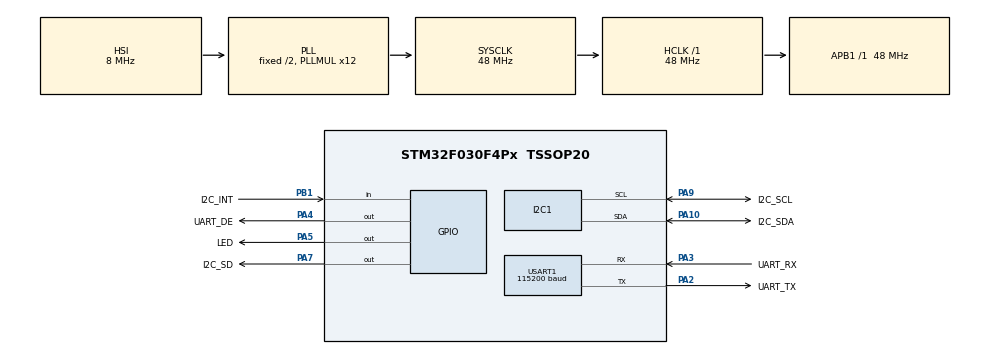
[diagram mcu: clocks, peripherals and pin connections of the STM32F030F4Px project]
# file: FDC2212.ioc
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I2C1.Timing=0x2000090E
Mcu.Family=STM32F0
Mcu.Name=STM32F030F4Px
Mcu.Package=TSSOP20
NVIC.USART1_IRQn=true\:0\:0\:false\:false\:true
PA10.GPIO_Label=I2C_SDA
PA10.Mode=I2C
PA10.Signal=I2C1_SDA
PA13.GPIO_Label=SWD_IO
PA13.Mode=Serial-WireDebug
PA13.Signal=SYS_SWDIO
PA14.GPIO_Label=SWT_CL
PA14.Mode=Serial-WireDebug
PA14.Signal=SYS_SWCLK
PA2.GPIO_Label=UART_TX
PA2.Mode=Asynchronous
PA2.Signal=USART1_TX
PA3.GPIO_Label=UART_RX
PA3.Mode=Asynchronous
PA3.Signal=USART1_RX
PA4.GPIO_Label=UART_DE
PA4.GPIO_Speed=GPIO_SPEED_HIGH
PA4.Signal=GPIO_Output
PA5.GPIO_Label=LED
PA5.Signal=GPIO_Output
PA7.GPIO_Label=I2C_SD
PA7.Signal=GPIO_Output
PA9.GPIO_Label=I2C_SCL
PA9.Mode=I2C
PA9.Signal=I2C1_SCL
PB1.GPIO_Label=I2C_INT
PB1.Signal=GPIO_Input
ProjectManager.TargetToolchain=SW4STM32
RCC.AHBFreq_Value=48000000
RCC.APB1Freq_Value=48000000
RCC.APB1TimFreq_Value=48000000
RCC.HCLKFreq_Value=48000000
RCC.PLLMUL=RCC_PLL_MUL12
RCC.SYSCLKFreq_VALUE=48000000
RCC.SYSCLKSource=RCC_SYSCLKSOURCE_PLLCLK
USART1.BaudRate=115200
USART1.RxPinLevelInvertParam=UART_ADVFEATURE_RXINV_ENABLE
USART1.TxPinLevelInvertParam=UART_ADVFEATURE_TXINV_ENABLE
board=FDC2212

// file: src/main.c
/**
  ******************************************************************************
  * File Name          : main.c
  * Description        : Main program body
  ******************************************************************************
  *
  * COPYRIGHT(c) 2016 STMicroelectronics
  *
  * Redistribution and use in source and binary forms, with or without modification,
  * are permitted provided that the following conditions are met:
  *   1. Redistributions of source code must retain the above copyright notice,
  *      this list of conditions and the following disclaimer.
  *   2. Redistributions in binary form must reproduce the above copyright notice,
  *      this list of conditions and the following disclaimer in the documentation
  *      and/or other materials provided with the distribution.
  *   3. Neither the name of STMicroelectronics nor the names of its contributors
  *      may be used to endorse or promote products derived from this software
  *      without specific prior written permission.
  *
  * THIS SOFTWARE IS PROVIDED BY THE COPYRIGHT HOLDERS AND CONTRIBUTORS "AS IS"
  * AND ANY EXPRESS OR IMPLIED WARRANTIES, INCLUDING, BUT NOT LIMITED TO, THE
  * IMPLIED WARRANTIES OF MERCHANTABILITY AND FITNESS FOR A PARTICULAR PURPOSE ARE
  * DISCLAIMED. IN NO EVENT SHALL THE COPYRIGHT HOLDER OR CONTRIBUTORS BE LIABLE
  * FOR ANY DIRECT, INDIRECT, INCIDENTAL, SPECIAL, EXEMPLARY, OR CONSEQUENTIAL
  * DAMAGES (INCLUDING, BUT NOT LIMITED TO, PROCUREMENT OF SUBSTITUTE GOODS OR
  * SERVICES; LOSS OF USE, DATA, OR PROFITS; OR BUSINESS INTERRUPTION) HOWEVER
  * CAUSED AND ON ANY THEORY OF LIABILITY, WHETHER IN CONTRACT, STRICT LIABILITY,
  * OR TORT (INCLUDING NEGLIGENCE OR OTHERWISE) ARISING IN ANY WAY OUT OF THE USE
  * OF THIS SOFTWARE, EVEN IF ADVISED OF THE POSSIBILITY OF SUCH DAMAGE.
  *
  ******************************************************************************
  */
#include "stm32f0xx_hal.h"

/* USER CODE BEGIN Includes */
#include "stdio.h"
#include "string.h"

#define SLAVE_ID          0x02

#define MEASURE_CURRENT   0x1E
#define MEASURE_DURATION  0x8329

/* USER CODE END Includes */

I2C_HandleTypeDef hi2c1;

UART_HandleTypeDef huart1;

/* USER CODE BEGIN PV */
/* Private variables ---------------------------------------------------------*/
#define FDC_ADDR                0x2a

#define FDC_DATA_CH0            0x00
#define FDC_DATA_LSB_CH0        0x01
#define FDC_DATA_CH1            0x02
#define FDC_DATA_LSB_CH1        0x03

#define FDC_RCOUNT_CH0          0x08
#define FDC_RCOUNT_CH1          0x09
#define FDC_SETTLECOUNT_CH0     0x10
#define FDC_SETTLECOUNT_CH1     0x11
#define FDC_CLOCK_DIVIDER_CH0   0x14
#define FDC_CLOCK_DIVIDER_CH1   0x15
#define FDC_STATUS              0x18
#define FDC_STATUS_CONFIG       0x19
#define FDC_MUX_CONFIG          0x1B
#define FDC_DRIVE_CURRENT_CH0   0x1E
#define FDC_DRIVE_CURRENT_CH1   0x1F
#define FDC_CONFIG              0x1A

#define ACTION_NONE        0
#define ACTION_MEASURE1    1
#define ACTION_MEASURE2    2
#define ACTION_CONFIGURE1  3
#define ACTION_CONFIGURE2  4
#define ACTION_MEASURECONT 5
#define ACTION_STOP        6

#define STATUS_IDLE        0
#define STATUS_MEASURE1    1
#define STATUS_MEASURE2    2
#define STATUS_MEASURECONT 3

volatile int status = STATUS_IDLE, action = ACTION_NONE;
volatile uint32_t cap1 = 0, cap2 = 0, cap = 42;
volatile uint16_t status1 = 0, status2 = 0;

/* USER CODE END PV */

void SystemClock_Config(void);
static void MX_GPIO_Init(void);
static void MX_I2C1_Init(void);
static void MX_USART1_UART_Init(void);

/* USER CODE BEGIN PFP */
/* Private function prototypes -----------------------------------------------*/

/* USER CODE END PFP */

/* USER CODE BEGIN 0 */

// 00 xx       broadcast key xx
// ss            address slave ss
// ss 01 xx pp     stop measuring on broadcast xx byte pp
// ss 02           start continuous measurement (on channel 1)
// ss c0           request channel c status
// ss c1 xx pp     measure channel c on broadcast xx byte pp
// ss c2 xx pp     provide channel c result on broadcast xx byte pp
// ss c3 ii dd dd  for channel c use current ii and duration dd dd
#define UART_CH1_MASK        0x10
#define UART_CH2_MASK        0x20
#define UART_MEASURE_MASK    0x01
#define UART_REPORT_MASK     0x02
#define UART_CONFIG_MASK     0x03
#define UART_STATUS_MASK     0x00

#define UART_CONTINUOUS_MASK 0x02
#define UART_STOP_MASK       0x01

void write(uint16_t reg, uint16_t data) {
  uint8_t pdata[2] = {(data >> 8) & 0xFF, data & 0xFF};
  HAL_StatusTypeDef ret = HAL_I2C_Mem_Write(&hi2c1, FDC_ADDR * 2, reg, 1, pdata, 2, 2000);
  if(ret != HAL_OK) {
    int i = ret;
    i++;
  }
}

uint16_t read(uint16_t reg) {
  uint8_t pdata[2];
  HAL_StatusTypeDef ret = HAL_I2C_Mem_Read(&hi2c1, FDC_ADDR * 2, reg, 1, pdata, 2, 2000);
  if(ret != HAL_OK) {
    int i = ret;
    i++;
  }
  return (pdata[0] << 8) | pdata[1];
}

#define UNCONFIGURED         255

volatile int measure_ch1_pos = UNCONFIGURED;
volatile int measure_ch1_key = UNCONFIGURED;

volatile int report_ch1_pos = UNCONFIGURED;
volatile int report_ch1_key = UNCONFIGURED;

volatile int current_ch1 = MEASURE_CURRENT;
volatile int duration_ch1 = MEASURE_DURATION;

volatile int measure_ch2_pos = UNCONFIGURED;
volatile int measure_ch2_key = UNCONFIGURED;

volatile int report_ch2_pos = UNCONFIGURED;
volatile int report_ch2_key = UNCONFIGURED;

volatile int current_ch2 = MEASURE_CURRENT;
volatile int duration_ch2 = MEASURE_DURATION;

volatile int stop_pos = UNCONFIGURED;
volatile int stop_key = UNCONFIGURED;

#define UART_EXPECT_ADDR 0
#define UART_EXPECT_KEY 1
#define UART_EXPECT_DATA 2
int uart_state = UART_EXPECT_ADDR;
uint8_t uart_addr = 0, uart_key = 0, uart_pos = 0;
uint8_t tx_buf[8];
uint8_t tx_pos = 0, tx_len = 0;
volatile int transmitting = 0;

void report(UART_HandleTypeDef* uart, void* data, uint8_t len) {
  HAL_GPIO_WritePin(UART_DE_GPIO_Port, UART_DE_Pin, GPIO_PIN_SET);
  transmitting = 1;
  memcpy(tx_buf, data, len);
  tx_len = len;
  tx_pos = 0;
  __HAL_UART_ENABLE_IT(uart, UART_IT_TXE);
}

void handle(UART_HandleTypeDef* uart) {
  int error = 0;
  if(__HAL_UART_GET_IT(uart, UART_IT_FE) != RESET) {
    // Frame Error
    if(transmitting == 0) uart_state = UART_EXPECT_ADDR;
    __HAL_UART_CLEAR_IT(uart, UART_CLEAR_FEF);
    error = 2;
  }

  if(__HAL_UART_GET_IT(uart, UART_IT_PE) != RESET) {
    // Parity Error
    __HAL_UART_CLEAR_IT(uart, UART_CLEAR_PEF);
    error = 1;
  }

  if(__HAL_UART_GET_IT(uart, UART_IT_NE) != RESET) {
    // Noise Error
    __HAL_UART_CLEAR_IT(uart, UART_CLEAR_NEF);
    error = 1;
  }

  if(__HAL_UART_GET_IT(uart, UART_IT_ORE) != RESET) {
    // Overrun Error
    __HAL_UART_CLEAR_IT(uart, UART_CLEAR_OREF);
    error = 1;
  }

  if(__HAL_UART_GET_IT(uart, UART_IT_TXE) != RESET) {
    // Transmit buffer empty
    if(tx_pos < tx_len) {
      uart->Instance->TDR = tx_buf[tx_pos];
      tx_pos++;
    }
    if(tx_pos == tx_len) {
      __HAL_UART_ENABLE_IT(uart, UART_IT_TC);
      __HAL_UART_DISABLE_IT(uart, UART_IT_TXE);
    }
  }

  if(__HAL_UART_GET_IT(uart, UART_IT_TC) != RESET) {
    // Transfer complete
    if(tx_pos == tx_len) {
      HAL_GPIO_WritePin(UART_DE_GPIO_Port, UART_DE_Pin, GPIO_PIN_RESET);
      __HAL_UART_DISABLE_IT(uart, UART_IT_TC);
      __HAL_UART_CLEAR_IT(uart, UART_CLEAR_TCF);
      transmitting = 0;
    }
  }

  if(error == 2) {
    __HAL_UART_SEND_REQ(uart, UART_RXDATA_FLUSH_REQUEST);
    return;
  }

  if(__HAL_UART_GET_IT(uart, UART_IT_RXNE) != RESET) {
    // data available
    if(uart_state == UART_EXPECT_ADDR) {
      uart_addr = uart->Instance->RDR;
      uart_state = UART_EXPECT_KEY;
    } else if(uart_state == UART_EXPECT_KEY) {
      uart_key = uart->Instance->RDR;
      uart_pos = 0;
      uart_state = UART_EXPECT_DATA;
    } else if(uart_state == UART_EXPECT_DATA) {
      uart_pos++;
    }

    if(uart_state == UART_EXPECT_DATA) {
      if(uart_addr == 0) {
        if(uart_key == stop_key && uart_pos == stop_pos) {
          action = ACTION_STOP;
        }
        if(uart_key == measure_ch1_key && uart_pos == measure_ch1_pos) {
          cap1 = 0;
          action = ACTION_MEASURE1;
        }
        if(uart_key == measure_ch2_key && uart_pos == measure_ch2_pos) {
          cap2 = 0;
          action = ACTION_MEASURE2;
        }
        if(uart_key == report_ch1_key && uart_pos == report_ch1_pos) {
          uint32_t value = (status == STATUS_MEASURECONT) ? cap : cap1;
          int i; for(i=0; i<20; i++);
          report(uart, &value, sizeof(value));
        }
        if(uart_key == report_ch2_key && uart_pos == report_ch2_pos) {
          uint32_t value = (status == STATUS_MEASURECONT) ? cap : cap2;
          int i; for(i=0; i<20; i++);
          report(uart, &value, sizeof(value));
        }
      } else if(uart_addr == SLAVE_ID) {
        if(status==STATUS_MEASURECONT) status = STATUS_IDLE;
        if(uart_key == (UART_CH1_MASK + UART_MEASURE_MASK)) {
          if(uart_pos == 0) {measure_ch1_key = UNCONFIGURED; measure_ch1_pos = UNCONFIGURED; }
          if(uart_pos == 1) measure_ch1_key = uart->Instance->RDR;
          if(uart_pos == 2) measure_ch1_pos = uart->Instance->RDR;
        }
        if(uart_key == (UART_CH2_MASK + UART_MEASURE_MASK)) {
          if(uart_pos == 0) {measure_ch2_key = UNCONFIGURED; measure_ch2_pos = UNCONFIGURED; }
          if(uart_pos == 1) measure_ch2_key = uart->Instance->RDR;
          if(uart_pos == 2) measure_ch2_pos = uart->Instance->RDR;
        }
        if(uart_key == (UART_CH1_MASK + UART_REPORT_MASK)) {
          if(uart_pos == 0) {report_ch1_key = UNCONFIGURED; report_ch1_pos = UNCONFIGURED; }
          if(uart_pos == 1) report_ch1_key = uart->Instance->RDR;
          if(uart_pos == 2) report_ch1_pos = uart->Instance->RDR;
        }
        if(uart_key == (UART_CH2_MASK + UART_REPORT_MASK)) {
          if(uart_pos == 0) {report_ch2_key = UNCONFIGURED; report_ch2_pos = UNCONFIGURED; }
          if(uart_pos == 1) report_ch2_key = uart->Instance->RDR;
          if(uart_pos == 2) report_ch2_pos = uart->Instance->RDR;
        }
        if(uart_key == (UART_CH1_MASK + UART_CONFIG_MASK)) {
          if(uart_pos == 1) current_ch1 = uart->Instance->RDR;
          if(uart_pos == 2) duration_ch1 = uart->Instance->RDR;
          if(uart_pos == 3) {
            duration_ch1 = (duration_ch1 << 8) | uart->Instance->RDR;
            action = ACTION_CONFIGURE1;
          }
        }
        if(uart_key == (UART_CH2_MASK + UART_CONFIG_MASK)) {
          if(uart_pos == 1) current_ch2 = uart->Instance->RDR;
          if(uart_pos == 2) duration_ch2 = uart->Instance->RDR;
          if(uart_pos == 3) {
            duration_ch2 = (duration_ch2 << 8) | uart->Instance->RDR;
            action = ACTION_CONFIGURE2;
          }
        }
        if(uart_key == (UART_CH1_MASK + UART_STATUS_MASK)) {
          uint16_t value = status1;
          int i; for(i=0; i<20; i++);
          report(uart, &value, 2);
        }
        if(uart_key == (UART_CH2_MASK + UART_STATUS_MASK)) {
          uint16_t value = status2;
          int i; for(i=0; i<20; i++);
          report(uart, &value, 2);
        }
        if(uart_key == (UART_CONTINUOUS_MASK)) {
          action = ACTION_MEASURECONT;
        }
        if(uart_key == (UART_STOP_MASK)) {
          if(uart_pos == 0) {stop_key = UNCONFIGURED; stop_pos = UNCONFIGURED; }
          if(uart_pos == 1) stop_key = uart->Instance->RDR;
          if(uart_pos == 2) stop_pos = uart->Instance->RDR;
        }
      }
    }
    __HAL_UART_SEND_REQ(uart, UART_RXDATA_FLUSH_REQUEST);
  }
}

/* USER CODE END 0 */

int main(void)
{

  /* MCU Configuration----------------------------------------------------------*/

  /* Reset of all peripherals, Initializes the Flash interface and the Systick. */
  HAL_Init();

  /* Configure the system clock */
  SystemClock_Config();

  /* Initialize all configured peripherals */
  MX_GPIO_Init();
  MX_I2C1_Init();
  MX_USART1_UART_Init();

  /* USER CODE BEGIN 2 */

  // enable FDC2212
  HAL_GPIO_WritePin(I2C_SD_GPIO_Port, I2C_SD_Pin, GPIO_PIN_RESET);
  int i; for(i=0; i<10000; i++);
  // turn on LED
  HAL_GPIO_WritePin(LED_GPIO_Port, LED_Pin, GPIO_PIN_SET);

  // configure FDC2212
  write(FDC_RCOUNT_CH0,         MEASURE_DURATION);
  write(FDC_RCOUNT_CH1,         MEASURE_DURATION);
  write(FDC_SETTLECOUNT_CH0,    0x000A);
  write(FDC_SETTLECOUNT_CH1,    0x000A);
  write(FDC_CLOCK_DIVIDER_CH0,  0x2001);
  write(FDC_CLOCK_DIVIDER_CH1,  0x2001);
  write(FDC_DRIVE_CURRENT_CH0,  MEASURE_CURRENT << 11);
  write(FDC_DRIVE_CURRENT_CH1,  MEASURE_CURRENT << 11);
  write(FDC_STATUS_CONFIG,      0x0001);
  write(FDC_MUX_CONFIG,         0x020D);

  if(read(FDC_RCOUNT_CH0) != MEASURE_DURATION) while(1);

  int config_sleep = 0x3401;
  int config_ch1 =   0x1401;
  int config_ch2 =   0x5401;
  write(FDC_CONFIG,             config_sleep);
  action = ACTION_NONE;
  status = STATUS_IDLE;

  cap1 = cap2 = 0;
  status1 = status2 = 0;

  __HAL_UART_ENABLE_IT(&huart1, UART_IT_RXNE);
  __HAL_UART_ENABLE_IT(&huart1, UART_IT_ERR);

  HAL_GPIO_WritePin(LED_GPIO_Port, LED_Pin, GPIO_PIN_RESET);

  /* USER CODE END 2 */

  /* Infinite loop */
  while (1)
  {

  /* USER CODE BEGIN 3 */
    if(HAL_GPIO_ReadPin(I2C_INT_GPIO_Port, I2C_INT_Pin) == GPIO_PIN_RESET) {
      if(status == STATUS_MEASURE1) {
        status1 = read(FDC_STATUS);
        cap1 = read(FDC_DATA_CH0) << 16 | read(FDC_DATA_LSB_CH0);
        status = STATUS_IDLE;
        HAL_GPIO_WritePin(LED_GPIO_Port, LED_Pin, GPIO_PIN_RESET);
        if(stop_pos == UNCONFIGURED) write(FDC_CONFIG, config_sleep);
      } else if(status == STATUS_MEASURE2) {
        status2 = read(FDC_STATUS);
        cap2 = read(FDC_DATA_CH1) << 16 | read(FDC_DATA_LSB_CH1);
        status = STATUS_IDLE;
        HAL_GPIO_WritePin(LED_GPIO_Port, LED_Pin, GPIO_PIN_RESET);
        if(stop_pos == UNCONFIGURED) write(FDC_CONFIG, config_sleep);
      } else if(status == STATUS_MEASURECONT) {
        HAL_GPIO_WritePin(LED_GPIO_Port, LED_Pin, GPIO_PIN_SET);
        status1 = read(FDC_STATUS);
        cap = read(FDC_DATA_CH0) << 16 | read(FDC_DATA_LSB_CH0);
        HAL_GPIO_WritePin(LED_GPIO_Port, LED_Pin, GPIO_PIN_RESET);
      }
    }

    if(status == STATUS_IDLE && action == ACTION_CONFIGURE1) {
      write(FDC_RCOUNT_CH0, duration_ch1);
      write(FDC_DRIVE_CURRENT_CH0, current_ch1 << 11);
      action = ACTION_NONE;
    } else if(status == STATUS_IDLE && action == ACTION_CONFIGURE2) {
      write(FDC_RCOUNT_CH1, duration_ch2);
      write(FDC_DRIVE_CURRENT_CH1, current_ch2 << 11);
      action = ACTION_NONE;
    } else if(status == STATUS_IDLE && action == ACTION_MEASURE1) {
      write(FDC_CONFIG, config_ch1);
      status = STATUS_MEASURE1;
      action = ACTION_NONE;
      HAL_GPIO_WritePin(LED_GPIO_Port, LED_Pin, GPIO_PIN_SET);
    } else if(status == STATUS_IDLE && action == ACTION_MEASURE2) {
      write(FDC_CONFIG, config_ch2);
      status = STATUS_MEASURE2;
      action = ACTION_NONE;
      HAL_GPIO_WritePin(LED_GPIO_Port, LED_Pin, GPIO_PIN_SET);
    } else if(status == STATUS_IDLE && action == ACTION_MEASURECONT) {
      write(FDC_CONFIG, config_ch1);
      status = STATUS_MEASURECONT;
      action = ACTION_NONE;
      HAL_GPIO_WritePin(LED_GPIO_Port, LED_Pin, GPIO_PIN_SET);
    } else if(status == STATUS_IDLE && action == ACTION_STOP) {
      write(FDC_CONFIG, config_sleep);
      action = ACTION_NONE;
    }
  }
  /* USER CODE END 3 */

}

/** System Clock Configuration
*/
void SystemClock_Config(void)
{

  RCC_OscInitTypeDef RCC_OscInitStruct;
  RCC_ClkInitTypeDef RCC_ClkInitStruct;
  RCC_PeriphCLKInitTypeDef PeriphClkInit;

  RCC_OscInitStruct.OscillatorType = RCC_OSCILLATORTYPE_HSI;
  RCC_OscInitStruct.HSIState = RCC_HSI_ON;
  RCC_OscInitStruct.HSICalibrationValue = 16;
  RCC_OscInitStruct.PLL.PLLState = RCC_PLL_ON;
  RCC_OscInitStruct.PLL.PLLSource = RCC_PLLSOURCE_HSI;
  RCC_OscInitStruct.PLL.PLLMUL = RCC_PLL_MUL12;
  RCC_OscInitStruct.PLL.PREDIV = RCC_PREDIV_DIV1;
  HAL_RCC_OscConfig(&RCC_OscInitStruct);

  RCC_ClkInitStruct.ClockType = RCC_CLOCKTYPE_HCLK|RCC_CLOCKTYPE_SYSCLK
                              |RCC_CLOCKTYPE_PCLK1;
  RCC_ClkInitStruct.SYSCLKSource = RCC_SYSCLKSOURCE_PLLCLK;
  RCC_ClkInitStruct.AHBCLKDivider = RCC_SYSCLK_DIV1;
  RCC_ClkInitStruct.APB1CLKDivider = RCC_HCLK_DIV1;
  HAL_RCC_ClockConfig(&RCC_ClkInitStruct, FLASH_LATENCY_1);

  PeriphClkInit.PeriphClockSelection = RCC_PERIPHCLK_USART1|RCC_PERIPHCLK_I2C1;
  PeriphClkInit.Usart1ClockSelection = RCC_USART1CLKSOURCE_PCLK1;
  PeriphClkInit.I2c1ClockSelection = RCC_I2C1CLKSOURCE_HSI;
  HAL_RCCEx_PeriphCLKConfig(&PeriphClkInit);

  HAL_SYSTICK_Config(HAL_RCC_GetHCLKFreq()/1000);

  HAL_SYSTICK_CLKSourceConfig(SYSTICK_CLKSOURCE_HCLK);

  /* SysTick_IRQn interrupt configuration */
  HAL_NVIC_SetPriority(SysTick_IRQn, 0, 0);
}

/* I2C1 init function */
void MX_I2C1_Init(void)
{

  hi2c1.Instance = I2C1;
  hi2c1.Init.Timing = 0x2000090E;
  hi2c1.Init.OwnAddress1 = 0;
  hi2c1.Init.AddressingMode = I2C_ADDRESSINGMODE_7BIT;
  hi2c1.Init.DualAddressMode = I2C_DUALADDRESS_DISABLE;
  hi2c1.Init.OwnAddress2 = 0;
  hi2c1.Init.OwnAddress2Masks = I2C_OA2_NOMASK;
  hi2c1.Init.GeneralCallMode = I2C_GENERALCALL_DISABLE;
  hi2c1.Init.NoStretchMode = I2C_NOSTRETCH_DISABLE;
  HAL_I2C_Init(&hi2c1);

    /**Configure Analogue filter
    */
  HAL_I2CEx_ConfigAnalogFilter(&hi2c1, I2C_ANALOGFILTER_ENABLE);

}

/* USART1 init function */
void MX_USART1_UART_Init(void)
{

  huart1.Instance = USART1;
  huart1.Init.BaudRate = 115200;
  huart1.Init.WordLength = UART_WORDLENGTH_8B;
  huart1.Init.StopBits = UART_STOPBITS_1;
  huart1.Init.Parity = UART_PARITY_NONE;
  huart1.Init.Mode = UART_MODE_TX_RX;
  huart1.Init.HwFlowCtl = UART_HWCONTROL_NONE;
  huart1.Init.OverSampling = UART_OVERSAMPLING_16;
  huart1.Init.OneBitSampling = UART_ONE_BIT_SAMPLE_DISABLE;
  huart1.AdvancedInit.AdvFeatureInit = UART_ADVFEATURE_TXINVERT_INIT|UART_ADVFEATURE_RXINVERT_INIT;
  huart1.AdvancedInit.TxPinLevelInvert = UART_ADVFEATURE_TXINV_ENABLE;
  huart1.AdvancedInit.RxPinLevelInvert = UART_ADVFEATURE_RXINV_ENABLE;
  HAL_UART_Init(&huart1);

}

/** Configure pins as
        * Analog
        * Input
        * Output
        * EVENT_OUT
        * EXTI
*/
void MX_GPIO_Init(void)
{

  GPIO_InitTypeDef GPIO_InitStruct;

  /* GPIO Ports Clock Enable */
  __HAL_RCC_GPIOA_CLK_ENABLE();
  __HAL_RCC_GPIOB_CLK_ENABLE();

  /*Configure GPIO pin Output Level */
  HAL_GPIO_WritePin(GPIOA, UART_DE_Pin|LED_Pin|I2C_SD_Pin, GPIO_PIN_RESET);

  /*Configure GPIO pin : UART_DE_Pin */
  GPIO_InitStruct.Pin = UART_DE_Pin;
  GPIO_InitStruct.Mode = GPIO_MODE_OUTPUT_PP;
  GPIO_InitStruct.Pull = GPIO_NOPULL;
  GPIO_InitStruct.Speed = GPIO_SPEED_HIGH;
  HAL_GPIO_Init(UART_DE_GPIO_Port, &GPIO_InitStruct);

  /*Configure GPIO pins : LED_Pin I2C_SD_Pin */
  GPIO_InitStruct.Pin = LED_Pin|I2C_SD_Pin;
  GPIO_InitStruct.Mode = GPIO_MODE_OUTPUT_PP;
  GPIO_InitStruct.Pull = GPIO_NOPULL;
  GPIO_InitStruct.Speed = GPIO_SPEED_FREQ_LOW;
  HAL_GPIO_Init(GPIOA, &GPIO_InitStruct);

  /*Configure GPIO pin : I2C_INT_Pin */
  GPIO_InitStruct.Pin = I2C_INT_Pin;
  GPIO_InitStruct.Mode = GPIO_MODE_INPUT;
  GPIO_InitStruct.Pull = GPIO_NOPULL;
  HAL_GPIO_Init(I2C_INT_GPIO_Port, &GPIO_InitStruct);

}

/************************ (C) COPYRIGHT STMicroelectronics *****END OF FILE****/
